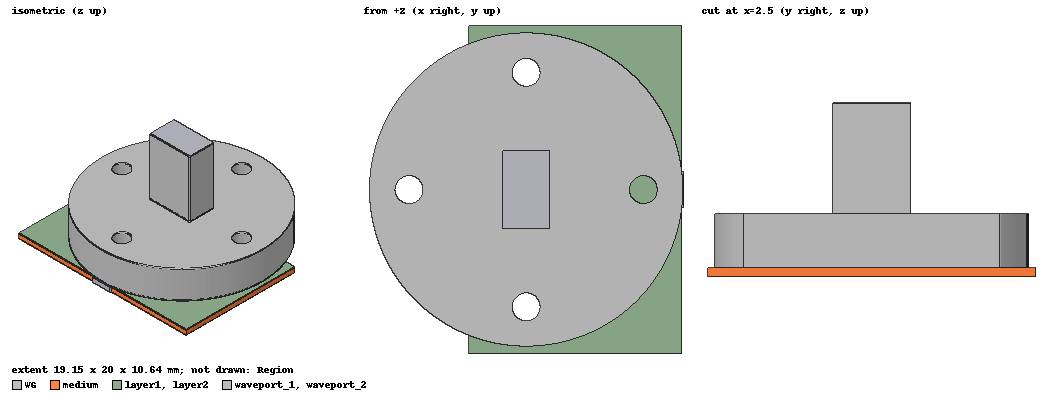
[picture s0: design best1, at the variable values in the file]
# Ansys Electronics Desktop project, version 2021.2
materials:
  Rogers RO4003 (tm): permittivity=3.55 dielectric_loss_tangent=0.0027
  air: permittivity=1.0006 permeability=1.0000004
  copper: permeability=0.999991 conductivity=58000000
  pec: conductivity=1e+30
  vacuum: permittivity=1

design best1 (HFSS, DrivenModal, model units mm)
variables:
  m_length = 13mm
  m_width = 20mm
  m_thickness = 0.508mm
  line_thickness = 0.035mm
  WG_length = 1.8796mm
  WG_width = 3.7592mm
  WG_high = 10mm
  WG_thickness = 0.5mm
  patch_length = 0.4mm
  patch_width = 1.4mm
  Ls = 1.75mm
  Ws = 2.9mm
  via_radius = 0.15mm
  W2 = 3.65mm
  W1 = 1.75mm
  SIW_widness = 2.18mm
  sector_raduis = 0.1mm
  patch_x_dis = -0.3mm
  via_front_x_dis = -0.22mm
  sided_via_x_dis = 0.4mm
  via_front_radius = 0.1mm
  back_via_x = -0.25mm
  WG_flange_thickness = 3.3mm
  WG_flange_radius = 9.55mm
  WG_flange_screw_radius = (1.7/2) mm
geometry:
  medium [Rogers RO4003 (tm)] = box(corner=(-m_length/2, -m_width /2, -m_thickness/2), size=(m_length, m_width, m_thickness))
  layer1 [copper] = box(corner=(-m_length/2, -m_width /2, m_thickness/2), size=(m_length, m_width, line_thickness))
  layer2 [copper] = box(corner=(-m_length/2, -m_width /2, - m_thickness/2 - line_thickness), size=(m_length, m_width, line_thickness))
  WG [copper] = box(corner=(- (WG_length + WG_thickness * 2) /2, - (WG_width  + WG_thickness * 2) /2, m_thickness/2+line_thickness), size=(WG_length + WG_thickness * 2, WG_width  + WG_thickness * 2, WG_high - line_thickness))
  WG_sub = box(corner=(- (WG_length) /2, - (WG_width ) /2, m_thickness/2 + line_thickness), size=(WG_length, WG_width, WG_high - line_thickness))
  patch [copper] = box(corner=(-patch_length/2, -patch_width/2, m_thickness/2), size=(patch_length, patch_width, line_thickness))
  via_sided [copper] = cylinder(axis=Z, base_centre=(0.05mm, -W2/2, -m_thickness/2), radius=via_front_radius, height=m_thickness)
  via_front [copper] = cylinder(axis=Z, base_centre=(m_length /2 - via_radius*3 - 3.23 mm, -W1/2, -m_thickness/2), radius=via_front_radius, height=m_thickness)
  via_front_1 = via_front.duplicate_mirror(point=(0mm, 0mm, 0mm), normal=(0mm, 1mm, 0mm))
  via_sided_1 = via_sided.duplicate_mirror(point=(0mm, 0mm, 0mm), normal=(0mm, 1mm, 0mm))
  via_front.unite(via_front_1)
  via_sided.unite(via_sided_1)
  waveport1 = rectangle(corner=(- (WG_length + WG_thickness * 2) /2, - (WG_width  + WG_thickness * 2) /2, m_thickness/2 + WG_high), x_size=WG_length + WG_thickness * 2, y_size=WG_width  + WG_thickness * 2)
  waveport_1 [pec] = box(corner=(- (WG_length + WG_thickness * 2) /2, - (WG_width  + WG_thickness * 2) /2, m_thickness/2 + WG_high), size=(WG_length  + WG_thickness * 2, WG_width  + WG_thickness * 2, 0.1mm))
  waveport2 = rectangle(corner=(m_length/2, - SIW_widness/2, -m_thickness/2 - line_thickness), y_size=SIW_widness, z_size=m_thickness+line_thickness*2)
  waveport_2 [pec] = box(corner=(m_length/2, - SIW_widness/2, -m_thickness/2 - line_thickness), size=(0.1mm, SIW_widness, m_thickness + line_thickness *2))
  layer1_sub = box(corner=(-Ls/2, -Ws /2, m_thickness/2), size=(Ls, Ws, line_thickness))
  patch.move(patch_x_dis, 0, 0mm)
  via_front.move(via_front_x_dis, 0mm, 0mm)
  via_sided.move(sided_via_x_dis, 0mm, 0mm)
  Region [air] = region(percentage_offset=30 on all sides)
  via [copper] = cylinder(axis=Z, base_centre=(m_length /2 - via_radius*2 - 0.5 mm*6, - SIW_widness/2 -0.5 mm, - m_thickness/2), radius=via_radius, height=m_thickness)
  via1 [copper] = cylinder(axis=Z, base_centre=(m_length /2 - via_radius*2 +0.05 mm, - SIW_widness/2, - m_thickness/2), radius=via_radius, height=m_thickness)
  via2 [copper] = cylinder(axis=Z, base_centre=(m_length /2 - via_radius*2 - 0.5 mm*7, - SIW_widness/2 -0.5 mm*2.2, - m_thickness/2), radius=via_radius, height=m_thickness)
  via_1 = via.duplicate_along_line(step=(0mm, -0.5mm, 0mm), total=2)
  via_back [copper] = cylinder(axis=Z, base_centre=(m_length /2 - via_radius*2 - 0.5 mm*12, - SIW_widness/2 -0.45 mm, - m_thickness/2), radius=via_radius, height=m_thickness)
  via2_1..via2_5 = via2.duplicate_along_line(step=(-0.5mm, 0mm, 0mm), total=6)
  via2.unite(via2_1..via2_5)
  via.unite(via_1)
  via_2 [copper] = via.duplicate_mirror(point=(0mm, 0mm, 0mm), normal=(0mm, -1mm, 0mm))
  via2_6 [copper] = via2.duplicate_mirror(point=(0mm, 0mm, 0mm), normal=(0mm, -1mm, 0mm))
  via_back_1..via_back_5 = via_back.duplicate_along_line(step=(0mm, 0.6mm, 0mm), total=6)
  via_back.unite(via_back_1..via_back_5)
  via_back.move(back_via_x, 0mm, 0mm)
  WG_flange = cylinder(axis=Z, base_centre=(0mm, 0mm, m_thickness/2+line_thickness), radius=WG_flange_radius, height=WG_flange_thickness)
  flange_screw = cylinder(axis=Z, base_centre=(-14.29mm/2, 0mm, m_thickness/2+line_thickness), radius=WG_flange_screw_radius, height=WG_flange_thickness)
  flange_screw_1, flange_screw_2, flange_screw_3 = flange_screw.duplicate_around_axis(axis=Z, angle=90deg, total=4)
  WG_flange.subtract(flange_screw, flange_screw_1, flange_screw_2, flange_screw_3)
  WG.unite(WG_flange)
  WG.subtract(WG_sub)
  [via_2, via, via_back, via2, via2_6, via_front].move(-2.5mm, 0mm, 0mm)
  [layer1_sub, patch].move(-3mm, 0mm, 0mm)
  [via, via_2, via_back, via_front].move(-2mm, 0mm, 0mm)
  via_sided.move(-3mm, 0mm, 0mm)
  [via2, via2_6].move(-2mm, 0mm, 0mm)
  layer1.subtract(layer1_sub)
  [WG, waveport1, waveport_1].move(-3mm, 0mm, 0mm)
  PCB_screw = cylinder(axis=Z, base_centre=(-3mm, -14.29mm/2, - m_thickness/2-line_thickness), radius=WG_flange_screw_radius, height=m_thickness+2*line_thickness)
  PCB_screw_1 = PCB_screw.duplicate_mirror(point=(0mm, 0mm, 0mm), normal=(0mm, -1mm, 0mm))
  PCB_screw_2 = PCB_screw.copy()
  PCB_screw_1_1 = PCB_screw_1.copy()
  layer1.subtract(PCB_screw_2, PCB_screw_1_1)
  PCB_screw_3 = PCB_screw.copy()
  PCB_screw_1_2 = PCB_screw_1.copy()
  layer2.subtract(PCB_screw_3, PCB_screw_1_2)
  PCB_screw_4 = PCB_screw.copy()
  PCB_screw.delete()
  PCB_screw_1_3 = PCB_screw_1.copy()
  PCB_screw_1.delete()
  medium.subtract(PCB_screw_4, PCB_screw_1_3)
  via1_1..via1_15 = via1.duplicate_along_line(step=(-0.5mm, 0mm, 0mm), total=16)
  via1.unite(via1_1..via1_15)
  via1_16 [copper] = via1.duplicate_mirror(point=(0mm, 0mm, 0mm), normal=(0mm, 1mm, 0mm))
  via_3 = via.copy()
  via_2_1 = via_2.copy()
  via_back_6 = via_back.copy()
  via_front_2 = via_front.copy()
  via_sided_2 = via_sided.copy()
  via1_17 = via1.copy()
  via1_16_1 = via1_16.copy()
  via2_7 = via2.copy()
  via2_6_1 = via2_6.copy()
  medium.subtract(via_3, via_2_1, via_back_6, via_front_2, via_sided_2, via1_17, via1_16_1, via2_7, via2_6_1)
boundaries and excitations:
  Rad1: Radiation Objects=Region
  1: Wave Port Objects=waveport1 NumModes=1 Modes{Mode1{CharImp=Zpi}}
  2: Wave Port Objects=waveport2 NumModes=1 Modes{Mode1{CharImp=Zpi}}
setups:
  Setup1: HfssDriven Frequency=60GHz MaxDeltaS=0.02 MaximumPasses=10 MinimumPasses=1 MinimumConvergedPasses=1 PercentRefinement=30 BasisOrder=1 PortAccuracy=2
    sweep Sweep: 50GHz to 70GHz step 0.05GHz; Type=Interpolating InterpTolerance=0.5 InterpMaxSolns=250 InterpUsePortImped=false PassivityErrorTolerance=0.0001
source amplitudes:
  1:1: 1W 0deg
  2:1: 0W 0deg
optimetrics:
  ParametricSetup1: Parametric Sim._Setups=[Setup1]
    sweep via_front_x_dis: LIN -0.22mm -0.18mm 0.01mm
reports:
  S Parameter Plot 5: dB(S(1,1)), dB(S(2,1)) vs Freq on Setup1 : Sweep; markers MY1 at y=-1, MY2 at y=-10
